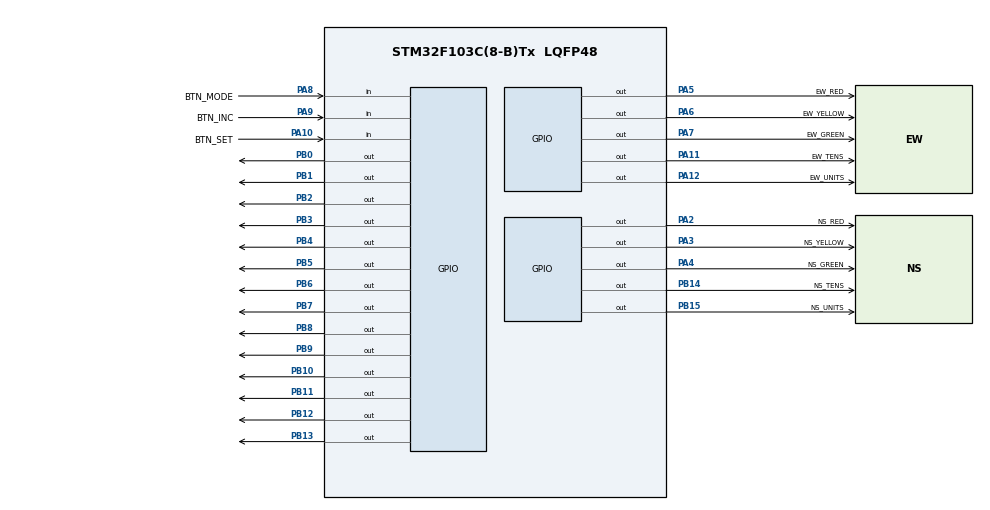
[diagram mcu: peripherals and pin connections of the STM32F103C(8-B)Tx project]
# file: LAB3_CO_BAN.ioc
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Mcu.Family=STM32F1
Mcu.Name=STM32F103C(8-B)Tx
Mcu.Package=LQFP48
NVIC.PriorityGroup=NVIC_PRIORITYGROUP_4
NVIC.TIM2_IRQn=true\:2\:0\:false\:false\:true\:true\:true\:true
PA10.GPIO_Label=BTN_SET
PA10.GPIO_PuPd=GPIO_PULLUP
PA10.Signal=GPIO_Input
PA11.GPIO_Label=EW_TENS
PA11.PinState=GPIO_PIN_SET
PA11.Signal=GPIO_Output
PA12.GPIO_Label=EW_UNITS
PA12.PinState=GPIO_PIN_SET
PA12.Signal=GPIO_Output
PA13.Mode=Serial_Wire
PA13.Signal=SYS_JTMS-SWDIO
PA14.Mode=Serial_Wire
PA14.Signal=SYS_JTCK-SWCLK
PA2.GPIO_Label=NS_RED
PA2.Signal=GPIO_Output
PA3.GPIO_Label=NS_YELLOW
PA3.Signal=GPIO_Output
PA4.GPIO_Label=NS_GREEN
PA4.Signal=GPIO_Output
PA5.GPIO_Label=EW_RED
PA5.Signal=GPIO_Output
PA6.GPIO_Label=EW_YELLOW
PA6.Signal=GPIO_Output
PA7.GPIO_Label=EW_GREEN
PA7.Signal=GPIO_Output
PA8.GPIO_Label=BTN_MODE
PA8.GPIO_PuPd=GPIO_PULLUP
PA8.Signal=GPIO_Input
PA9.GPIO_Label=BTN_INC
PA9.GPIO_PuPd=GPIO_PULLUP
PA9.Signal=GPIO_Input
PB0.PinState=GPIO_PIN_SET
PB0.Signal=GPIO_Output
PB1.PinState=GPIO_PIN_SET
PB1.Signal=GPIO_Output
PB10.PinState=GPIO_PIN_SET
PB10.Signal=GPIO_Output
PB11.PinState=GPIO_PIN_SET
PB11.Signal=GPIO_Output
PB12.PinState=GPIO_PIN_SET
PB12.Signal=GPIO_Output
PB13.PinState=GPIO_PIN_SET
PB13.Signal=GPIO_Output
PB14.GPIO_Label=NS_TENS
PB14.PinState=GPIO_PIN_SET
PB14.Signal=GPIO_Output
PB15.GPIO_Label=NS_UNITS
PB15.PinState=GPIO_PIN_SET
PB15.Signal=GPIO_Output
PB2.PinState=GPIO_PIN_SET
PB2.Signal=GPIO_Output
PB3.PinState=GPIO_PIN_SET
PB3.Signal=GPIO_Output
PB4.PinState=GPIO_PIN_SET
PB4.Signal=GPIO_Output
PB5.PinState=GPIO_PIN_SET
PB5.Signal=GPIO_Output
PB6.PinState=GPIO_PIN_SET
PB6.Signal=GPIO_Output
PB7.PinState=GPIO_PIN_SET
PB7.Signal=GPIO_Output
PB8.PinState=GPIO_PIN_SET
PB8.Signal=GPIO_Output
PB9.PinState=GPIO_PIN_SET
PB9.Signal=GPIO_Output
ProjectManager.HeapSize=0x200
ProjectManager.StackSize=0x400
ProjectManager.TargetToolchain=MDK-ARM V5.32
RCC.APB1Freq_Value=8000000
RCC.APB2Freq_Value=8000000
TIM2.Period=99
TIM2.Prescaler=799
VP_TIM2_VS_ClockSourceINT.Mode=Internal
board=custom

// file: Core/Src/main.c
/* USER CODE BEGIN Header */
/**
  ******************************************************************************
  * @file           : main.c
  * @brief          : Main program body
  ******************************************************************************
  * @attention
  *
  * Copyright (c) 2026 STMicroelectronics.
  * All rights reserved.
  *
  * This software is licensed under terms that can be found in the LICENSE file
  * in the root directory of this software component.
  * If no LICENSE file comes with this software, it is provided AS-IS.
  *
  ******************************************************************************
  */
/* USER CODE END Header */
#include "main.h"

/* USER CODE BEGIN Includes */
#include "input_processing.h"
#include "input_reading.h"
#include "output_display.h"
#include "tim.h"
#include "timer.h"
/* USER CODE END Includes */

void SystemClock_Config(void);
static void MX_GPIO_Init(void);

int main(void)
{

  /* MCU Configuration--------------------------------------------------------*/

  /* Reset of all peripherals, Initializes the Flash interface and the Systick. */
  HAL_Init();

  /* Configure the system clock */
  SystemClock_Config();

  /* Initialize all configured peripherals */
  MX_GPIO_Init();
  MX_TIM2_Init();
  /* USER CODE BEGIN 2 */
  input_init();
  output_init();
  fsm_init();
  timer_start();
/* USER CODE END 2 */

  /* Infinite loop */
  while (1)
  {

    /* USER CODE BEGIN 3 */
    fsm_run();
  }
/* USER CODE END 3 */
}

void SystemClock_Config(void)
{
  RCC_OscInitTypeDef RCC_OscInitStruct = {0};
  RCC_ClkInitTypeDef RCC_ClkInitStruct = {0};

  /** Initializes the RCC Oscillators according to the specified parameters
  * in the RCC_OscInitTypeDef structure.
  */
  RCC_OscInitStruct.OscillatorType = RCC_OSCILLATORTYPE_HSI;
  RCC_OscInitStruct.HSIState = RCC_HSI_ON;
  RCC_OscInitStruct.HSICalibrationValue = RCC_HSICALIBRATION_DEFAULT;
  RCC_OscInitStruct.PLL.PLLState = RCC_PLL_NONE;
  if (HAL_RCC_OscConfig(&RCC_OscInitStruct) != HAL_OK)
  {
    Error_Handler();
  }

  /** Initializes the CPU, AHB and APB buses clocks
  */
  RCC_ClkInitStruct.ClockType = RCC_CLOCKTYPE_HCLK|RCC_CLOCKTYPE_SYSCLK
                              |RCC_CLOCKTYPE_PCLK1|RCC_CLOCKTYPE_PCLK2;
  RCC_ClkInitStruct.SYSCLKSource = RCC_SYSCLKSOURCE_HSI;
  RCC_ClkInitStruct.AHBCLKDivider = RCC_SYSCLK_DIV1;
  RCC_ClkInitStruct.APB1CLKDivider = RCC_HCLK_DIV1;
  RCC_ClkInitStruct.APB2CLKDivider = RCC_HCLK_DIV1;

  if (HAL_RCC_ClockConfig(&RCC_ClkInitStruct, FLASH_LATENCY_0) != HAL_OK)
  {
    Error_Handler();
  }
}

static void MX_GPIO_Init(void)
{
  GPIO_InitTypeDef GPIO_InitStruct = {0};

  /* GPIO Ports Clock Enable */
  __HAL_RCC_GPIOA_CLK_ENABLE();
  __HAL_RCC_GPIOB_CLK_ENABLE();

  /*Configure GPIO pin Output Level */
  HAL_GPIO_WritePin(GPIOA, GPIO_PIN_2|GPIO_PIN_3|GPIO_PIN_4|GPIO_PIN_5
                          |GPIO_PIN_6|GPIO_PIN_7, GPIO_PIN_RESET);

  /*Configure GPIO pin Output Level */
  HAL_GPIO_WritePin(GPIOB, GPIO_PIN_0|GPIO_PIN_1|GPIO_PIN_2|GPIO_PIN_10
                          |GPIO_PIN_11|GPIO_PIN_12|GPIO_PIN_13|GPIO_PIN_3
                          |GPIO_PIN_4|GPIO_PIN_5|GPIO_PIN_6|GPIO_PIN_7
                          |GPIO_PIN_8|GPIO_PIN_9, GPIO_PIN_SET);

  /*Configure GPIO pins : PA2 PA3 PA4 PA5
                           PA6 PA7 */
  GPIO_InitStruct.Pin = GPIO_PIN_2|GPIO_PIN_3|GPIO_PIN_4|GPIO_PIN_5
                          |GPIO_PIN_6|GPIO_PIN_7;
  GPIO_InitStruct.Mode = GPIO_MODE_OUTPUT_PP;
  GPIO_InitStruct.Pull = GPIO_NOPULL;
  GPIO_InitStruct.Speed = GPIO_SPEED_FREQ_LOW;
  HAL_GPIO_Init(GPIOA, &GPIO_InitStruct);

  /*Configure GPIO pins : PB0 PB1 PB2 PB10
                           PB11 PB12 PB13 PB3
                           PB4 PB5 PB6 PB7
                           PB8 PB9 */
  GPIO_InitStruct.Pin = GPIO_PIN_0|GPIO_PIN_1|GPIO_PIN_2|GPIO_PIN_10
                          |GPIO_PIN_11|GPIO_PIN_12|GPIO_PIN_13|GPIO_PIN_3
                          |GPIO_PIN_4|GPIO_PIN_5|GPIO_PIN_6|GPIO_PIN_7
                          |GPIO_PIN_8|GPIO_PIN_9;
  GPIO_InitStruct.Mode = GPIO_MODE_OUTPUT_PP;
  GPIO_InitStruct.Pull = GPIO_NOPULL;
  GPIO_InitStruct.Speed = GPIO_SPEED_FREQ_LOW;
  HAL_GPIO_Init(GPIOB, &GPIO_InitStruct);

  /* USER CODE BEGIN MX_GPIO_Init_2 */
  /* Added to EX5: PA8..10 buttons, PA11/12 and PB14/15 digit enables. */
  HAL_GPIO_WritePin(GPIOA, GPIO_PIN_11|GPIO_PIN_12, GPIO_PIN_SET);
  HAL_GPIO_WritePin(GPIOB, GPIO_PIN_14|GPIO_PIN_15, GPIO_PIN_SET);
  GPIO_InitStruct.Pin=GPIO_PIN_11|GPIO_PIN_12;
  GPIO_InitStruct.Mode=GPIO_MODE_OUTPUT_PP;
  GPIO_InitStruct.Pull=GPIO_NOPULL;
  GPIO_InitStruct.Speed=GPIO_SPEED_FREQ_LOW;
  HAL_GPIO_Init(GPIOA,&GPIO_InitStruct);
  GPIO_InitStruct.Pin=GPIO_PIN_14|GPIO_PIN_15;
  HAL_GPIO_Init(GPIOB,&GPIO_InitStruct);
  GPIO_InitStruct.Pin=GPIO_PIN_8|GPIO_PIN_9|GPIO_PIN_10;
  GPIO_InitStruct.Mode=GPIO_MODE_INPUT;
  GPIO_InitStruct.Pull=GPIO_PULLUP;
  HAL_GPIO_Init(GPIOA,&GPIO_InitStruct);
/* USER CODE END MX_GPIO_Init_2 */
}

void Error_Handler(void)
{
  __disable_irq();
  while (1)
  {
  }
}
